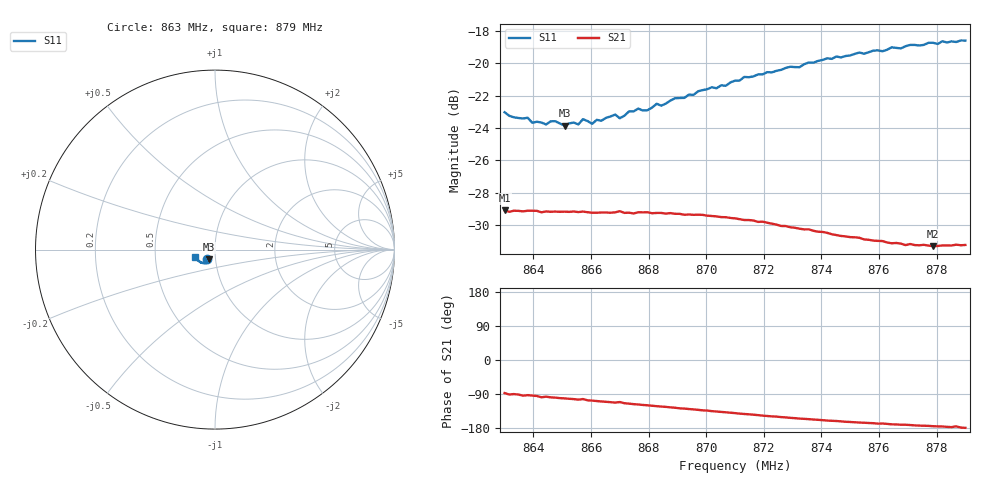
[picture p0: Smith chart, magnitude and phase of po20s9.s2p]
# HZ S RI R 50
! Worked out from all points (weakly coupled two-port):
!   101 points, 863 MHz to 879 MHz, reference 50 ohm
!   highest |S21| = -29.08 dB at 863 MHz (marker M1); lowest = -31.3 dB at 877.88 MHz (marker M2)
!   lowest |S11| = -23.8 dB at 865.08 MHz (marker M3), VSWR 1.14, Z = 46.4 - j5.06 ohm
!   |S11| at or under -10 dB: start of sweep to end of sweep
!   S12 and S22 are empty: the file has one direction only
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8.63e8  -0.0463 -0.0533  0.00165 -0.0351  0 0  0 0
8.6332e8  -0.0435 -0.0525  4.3e-05 -0.035  0 0  0 0
8.638e8  -0.0424 -0.0531  -0.00169 -0.035  0 0  0 0
8.6396e8  -0.0388 -0.0528  -0.00239 -0.035  0 0  0 0
8.6444e8  -0.0381 -0.0523  -0.00415 -0.0346  0 0  0 0
8.6476e8  -0.0371 -0.0549  -0.00563 -0.0344  0 0  0 0
8.6508e8  -0.0344 -0.0543  -0.00681 -0.0342  0 0  0 0
8.6556e8  -0.0346 -0.0547  -0.00879 -0.0336  0 0  0 0
8.6572e8  -0.0344 -0.0578  -0.00787 -0.0339  0 0  0 0
8.6604e8  -0.0322 -0.0565  -0.0102 -0.033  0 0  0 0
8.6684e8  -0.0332 -0.061  -0.0132 -0.032  0 0  0 0
8.67e8  -0.0324 -0.0594  -0.0125 -0.0326  0 0  0 0
8.6732e8  -0.0344 -0.0622  -0.0147 -0.0313  0 0  0 0
8.6796e8  -0.0332 -0.0635  -0.0171 -0.0302  0 0  0 0
8.6828e8  -0.0349 -0.0664  -0.0182 -0.0293  0 0  0 0
8.6844e8  -0.0345 -0.0655  -0.0187 -0.029  0 0  0 0
8.6892e8  -0.0368 -0.0688  -0.0202 -0.0277  0 0  0 0
8.71e8  -0.0475 -0.0746  -0.0255 -0.0213  0 0  0 0
8.7372e8  -0.0672 -0.0747  -0.028 -0.0118  0 0  0 0
8.7644e8  -0.0931 -0.0624  -0.0274 -0.00495  0 0  0 0
8.7788e8  -0.1038 -0.0513  -0.0271 -0.00251  0 0  0 0
8.79e8  -0.1105 -0.0402  -0.0275 -0.000433  0 0  0 0
